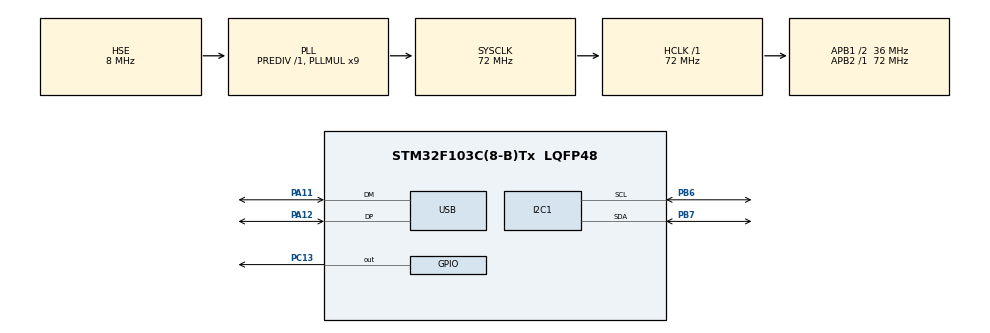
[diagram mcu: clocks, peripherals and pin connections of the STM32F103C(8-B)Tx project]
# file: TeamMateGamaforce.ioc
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Mcu.Family=STM32F1
Mcu.Name=STM32F103C(8-B)Tx
Mcu.Package=LQFP48
NVIC.PriorityGroup=NVIC_PRIORITYGROUP_4
NVIC.USB_LP_CAN1_RX0_IRQn=true\:0\:0\:false\:false\:true\:false\:true\:true
PA11.Mode=Device
PA11.Signal=USB_DM
PA12.Mode=Device
PA12.Signal=USB_DP
PA13.Mode=Serial_Wire
PA13.Signal=SYS_JTMS-SWDIO
PA14.Mode=Serial_Wire
PA14.Signal=SYS_JTCK-SWCLK
PB6.Mode=I2C
PB6.Signal=I2C1_SCL
PB7.Mode=I2C
PB7.Signal=I2C1_SDA
PC13-TAMPER-RTC.Signal=GPIO_Output
PD0-OSC_IN.Mode=HSE-External-Oscillator
PD0-OSC_IN.Signal=RCC_OSC_IN
PD1-OSC_OUT.Mode=HSE-External-Oscillator
PD1-OSC_OUT.Signal=RCC_OSC_OUT
ProjectManager.HeapSize=0x200
ProjectManager.StackSize=0x400
ProjectManager.TargetToolchain=STM32CubeIDE
RCC.AHBFreq_Value=72000000
RCC.APB1CLKDivider=RCC_HCLK_DIV2
RCC.APB1Freq_Value=36000000
RCC.APB1TimFreq_Value=72000000
RCC.APB2Freq_Value=72000000
RCC.APB2TimFreq_Value=72000000
RCC.HCLKFreq_Value=72000000
RCC.PLLMUL=RCC_PLL_MUL9
RCC.SYSCLKFreq_VALUE=72000000
RCC.SYSCLKSource=RCC_SYSCLKSOURCE_PLLCLK
RCC.USBFreq_Value=48000000
RCC.USBPrescaler=RCC_USBCLKSOURCE_PLL_DIV1_5
USB_DEVICE.CLASS_NAME_FS=CDC
USB_DEVICE.VirtualMode=Cdc
USB_DEVICE.VirtualModeFS=Cdc_FS
VP_USB_DEVICE_VS_USB_DEVICE_CDC_FS.Mode=CDC_FS
board=custom

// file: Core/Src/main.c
/* USER CODE BEGIN Header */
/**
  ******************************************************************************
  * @file           : main.c
  * @brief          : MPU6050 -> MAVLink v2 lewat USB CDC - Blue Pill STM32F103C8T6
  *                   HSE 8 MHz -> SYSCLK 72 MHz, USB 48 MHz
  *                   I2C1: PB6 = SCL, PB7 = SDA
  *
  * Pesan MAVLink yang dikirim (sysid=1, compid=1):
  *   HEARTBEAT   1 Hz
  *   SCALED_IMU  20 Hz  (acc [mG], gyro [mrad/s], suhu [cdegC])
  *   ATTITUDE    20 Hz  (roll/pitch [rad], yaw = 0)
  *   STATUSTEXT  saat start / error (diagnostik MPU6050)
  ******************************************************************************
  */
/* USER CODE END Header */
#include "main.h"
#include "usb_device.h"

/* USER CODE BEGIN Includes */
#include "mpu6050.h"
#include "usbd_cdc_if.h"
#include "../../c_library_v2/common/mavlink.h"
#include <stdio.h>
#include <stdint.h>
#include <string.h>
/* USER CODE END Includes */

I2C_HandleTypeDef hi2c1;

/* USER CODE BEGIN PV */
extern USBD_HandleTypeDef hUsbDeviceFS;

MPU6050_t mpu;

#define MAV_SYS_ID          1U
#define MAV_COMP_ID         MAV_COMP_ID_AUTOPILOT1
#define MAV_HEARTBEAT_MS    1000U
#define MAV_IMU_PERIOD_MS   50U         /* 20 Hz */

/* Buffer TX harus static/global karena USB CDC mengirim secara asynchronous. */
static uint8_t usb_tx_buffer[256];
/* USER CODE END PV */

void SystemClock_Config(void);
static void MX_GPIO_Init(void);
static void MX_I2C1_Init(void);
/* USER CODE BEGIN PFP */
static uint8_t  USB_TxReady(void);
static uint8_t  USB_WaitTxReady(uint32_t timeout_ms);
static void     USB_WaitConfigured(uint32_t timeout_ms);
static uint16_t MAV_Append(uint16_t used, const mavlink_message_t *msg);
static uint8_t  MAV_SendTelemetry(uint8_t with_heartbeat, uint8_t with_imu);
static void     MAV_StatusText(uint8_t severity, const char *text);
static void     I2C_BusRecover(void);
static void     I2C_Scan(void);
static void     MPU_PrintDiag(HAL_StatusTypeDef st);
/* USER CODE END PFP */

/* USER CODE BEGIN 0 */

#define DEG2RAD   0.01745329252f

/* ---------------- USB helper ---------------- */

/* Return 1 jika USB sudah CONFIGURED dan transmit sebelumnya selesai. */
static uint8_t USB_TxReady(void)
{
    USBD_CDC_HandleTypeDef *hcdc;

    if (hUsbDeviceFS.dev_state != USBD_STATE_CONFIGURED)
    {
        return 0U;
    }

    hcdc = (USBD_CDC_HandleTypeDef *)hUsbDeviceFS.pClassData;
    if (hcdc == NULL)
    {
        return 0U;
    }

    return (hcdc->TxState == 0U) ? 1U : 0U;
}

static uint8_t USB_WaitTxReady(uint32_t timeout_ms)
{
    uint32_t start = HAL_GetTick();

    while (!USB_TxReady())
    {
        if ((HAL_GetTick() - start) >= timeout_ms)
        {
            return 0U;
        }
    }
    return 1U;
}

static void USB_WaitConfigured(uint32_t timeout_ms)
{
    uint32_t start = HAL_GetTick();

    while (hUsbDeviceFS.dev_state != USBD_STATE_CONFIGURED)
    {
        if ((HAL_GetTick() - start) >= timeout_ms)
        {
            break;
        }
    }
}

/* ---------------- MAVLink ---------------- */
/* MAV BEGIN */

/* Float -> int16 dengan pembulatan. */
static int16_t MAV_ToI16(float v)
{
    return (int16_t)((v >= 0.0f) ? (v + 0.5f) : (v - 0.5f));
}

/* Serialisasi 'msg' ke usb_tx_buffer mulai dari offset 'used'.
   Return offset baru (tidak berubah jika buffer tidak cukup). */
static uint16_t MAV_Append(uint16_t used, const mavlink_message_t *msg)
{
    uint16_t need = (uint16_t)(MAVLINK_NUM_NON_PAYLOAD_BYTES + msg->len);

    if ((uint32_t)used + need > sizeof(usb_tx_buffer))
    {
        return used;
    }
    return (uint16_t)(used + mavlink_msg_to_send_buffer(&usb_tx_buffer[used], msg));
}

/* Kirim HEARTBEAT dan/atau SCALED_IMU + ATTITUDE dalam satu transfer USB.
   Return 1 jika terkirim, 0 jika USB belum siap (coba lagi nanti). */
static uint8_t MAV_SendTelemetry(uint8_t with_heartbeat, uint8_t with_imu)
{
    mavlink_message_t msg;
    uint16_t len = 0U;
    uint32_t now_ms;

    if (!USB_TxReady())
    {
        return 0U;
    }

    now_ms = HAL_GetTick();

    if (with_heartbeat)
    {
        mavlink_msg_heartbeat_pack(MAV_SYS_ID, MAV_COMP_ID, &msg,
                                   MAV_TYPE_GENERIC, MAV_AUTOPILOT_GENERIC,
                                   0U, 0U, MAV_STATE_ACTIVE);
        len = MAV_Append(len, &msg);
    }

    if (with_imu)
    {
        /* g -> mG, dps -> mrad/s, degC -> cdegC. Magnetometer tidak ada -> 0. */
        mavlink_msg_scaled_imu_pack(MAV_SYS_ID, MAV_COMP_ID, &msg, now_ms,
                                    MAV_ToI16(mpu.ax * 1000.0f),
                                    MAV_ToI16(mpu.ay * 1000.0f),
                                    MAV_ToI16(mpu.az * 1000.0f),
                                    MAV_ToI16(mpu.gx * DEG2RAD * 1000.0f),
                                    MAV_ToI16(mpu.gy * DEG2RAD * 1000.0f),
                                    MAV_ToI16(mpu.gz * DEG2RAD * 1000.0f),
                                    0, 0, 0,
                                    MAV_ToI16(mpu.temp * 100.0f));
        len = MAV_Append(len, &msg);

        /* yaw tidak tersedia (tanpa magnetometer) -> 0 */
        mavlink_msg_attitude_pack(MAV_SYS_ID, MAV_COMP_ID, &msg, now_ms,
                                  mpu.roll  * DEG2RAD,
                                  mpu.pitch * DEG2RAD,
                                  0.0f,
                                  mpu.gx * DEG2RAD,
                                  mpu.gy * DEG2RAD,
                                  mpu.gz * DEG2RAD);
        len = MAV_Append(len, &msg);
    }

    if (len == 0U)
    {
        return 1U;
    }
    return (CDC_Transmit_FS(usb_tx_buffer, len) == USBD_OK) ? 1U : 0U;
}

/* Kirim pesan teks (maks 49 karakter) sebagai STATUSTEXT. */
static void MAV_StatusText(uint8_t severity, const char *text)
{
    mavlink_message_t msg;
    char buf[50];                   /* STATUSTEXT.text = tepat 50 byte */
    uint16_t len;

    memset(buf, 0, sizeof(buf));
    strncpy(buf, text, sizeof(buf) - 1U);

    if (!USB_WaitTxReady(200U))
    {
        return;                     /* USB belum siap / host belum membuka port */
    }

    mavlink_msg_statustext_pack(MAV_SYS_ID, MAV_COMP_ID, &msg, severity, buf, 0U, 0U);
    len = MAV_Append(0U, &msg);
    (void)CDC_Transmit_FS(usb_tx_buffer, len);
}

/* MAV END */

/* ---------------- Diagnostik I2C / MPU6050 ---------------- */

/* Lepas bus I2C yang nyangkut (slave menahan SDA LOW / flag BUSY):
   kirim 9 clock manual di SCL lalu STOP, kemudian init ulang I2C. */
static void I2C_BusRecover(void)
{
    GPIO_InitTypeDef g = {0};
    int i;

    (void)HAL_I2C_DeInit(&hi2c1);

    g.Pin   = GPIO_PIN_6 | GPIO_PIN_7;          /* PB6 = SCL, PB7 = SDA */
    g.Mode  = GPIO_MODE_OUTPUT_OD;
    g.Pull  = GPIO_NOPULL;
    g.Speed = GPIO_SPEED_FREQ_HIGH;
    HAL_GPIO_Init(GPIOB, &g);

    HAL_GPIO_WritePin(GPIOB, GPIO_PIN_6 | GPIO_PIN_7, GPIO_PIN_SET);
    HAL_Delay(1);

    for (i = 0; i < 9; i++)
    {
        HAL_GPIO_WritePin(GPIOB, GPIO_PIN_6, GPIO_PIN_RESET);
        HAL_Delay(1);
        HAL_GPIO_WritePin(GPIOB, GPIO_PIN_6, GPIO_PIN_SET);
        HAL_Delay(1);
    }

    /* Kondisi STOP: SDA naik saat SCL HIGH */
    HAL_GPIO_WritePin(GPIOB, GPIO_PIN_7, GPIO_PIN_RESET);
    HAL_Delay(1);
    HAL_GPIO_WritePin(GPIOB, GPIO_PIN_6, GPIO_PIN_SET);
    HAL_Delay(1);
    HAL_GPIO_WritePin(GPIOB, GPIO_PIN_7, GPIO_PIN_SET);
    HAL_Delay(1);

    HAL_GPIO_DeInit(GPIOB, GPIO_PIN_6 | GPIO_PIN_7);
    MX_I2C1_Init();                              /* pin kembali ke AF I2C */
}

/* Scan semua alamat 7-bit, kirim yang menjawab (ACK) sebagai STATUSTEXT. */
static void I2C_Scan(void)
{
    char line[50];
    size_t pos;
    uint8_t found = 0U;
    uint8_t addr;

    pos = (size_t)snprintf(line, sizeof(line), "I2C scan:");

    for (addr = 1U; addr < 127U; addr++)
    {
        if (HAL_I2C_IsDeviceReady(&hi2c1, (uint16_t)(addr << 1), 1U, 5U) == HAL_OK)
        {
            if (pos + 6U < sizeof(line))
            {
                pos += (size_t)snprintf(line + pos, sizeof(line) - pos, " 0x%02X", addr);
            }
            found++;
        }
    }

    if (found == 0U)
    {
        snprintf(line + pos, sizeof(line) - pos, " tidak ada device");
    }
    MAV_StatusText(MAV_SEVERITY_WARNING, line);
}

/* Kirim langkah init yang gagal + petunjuk sebagai STATUSTEXT. */
static void MPU_PrintDiag(HAL_StatusTypeDef st)
{
    static const char *const step_name[] = {
        "-", "PROBE", "WHOAMI_RD", "WHOAMI_VAL",
        "RESET", "WAKE", "DLPF", "SMPLRT", "GYRO_CFG", "ACCEL_CFG"
    };
    static const char *const st_name[] = { "OK", "ERROR", "BUSY", "TIMEOUT" };

    char msg[50];
    uint32_t err = HAL_I2C_GetError(&hi2c1);
    uint8_t step = mpu.init_step;

    if (step >= (sizeof(step_name) / sizeof(step_name[0]))) step = 0U;

    snprintf(msg, sizeof(msg), "MPU ERR %s hal=%s i2c=0x%02lX id=0x%02X",
             step_name[step],
             ((unsigned)st < 4U) ? st_name[st] : "?",
             (unsigned long)err,
             (unsigned)mpu.who_am_i);
    MAV_StatusText(MAV_SEVERITY_ERROR, msg);

    if (st == HAL_BUSY)
    {
        MAV_StatusText(MAV_SEVERITY_ERROR, "Bus BUSY: SDA/SCL LOW (short/tanpa pull-up)");
    }
    else if (err & HAL_I2C_ERROR_AF)
    {
        MAV_StatusText(MAV_SEVERITY_ERROR, "NACK: cek VCC/GND, SDA=PB7, SCL=PB6, AD0");
    }
    else if (err & HAL_I2C_ERROR_BERR)
    {
        MAV_StatusText(MAV_SEVERITY_ERROR, "Bus error: kabel longgar / SDA-SCL tertukar");
    }
    else if (err & HAL_I2C_ERROR_ARLO)
    {
        MAV_StatusText(MAV_SEVERITY_ERROR, "Arbitration lost: noise / short di bus");
    }
    else
    {
        MAV_StatusText(MAV_SEVERITY_ERROR, "Timeout: cek pull-up 4.7k & tegangan 3.3V");
    }
}

/* USER CODE END 0 */

int main(void)
{
  /* USER CODE BEGIN 1 */
  uint32_t last_hb  = 0U;
  uint32_t last_imu = 0U;
  uint8_t  hb_due   = 1U;     /* kirim heartbeat pertama segera */
  /* USER CODE END 1 */

  HAL_Init();

  SystemClock_Config();

  MX_GPIO_Init();

  /* USER CODE BEGIN SysInit */
  /* Paksa host mendeteksi ulang USB setiap reset/flash:
     tarik PA12 (USB D+) ke LOW sebentar sebelum USB diinisialisasi. */
  {
      GPIO_InitTypeDef g = {0};
      g.Pin   = GPIO_PIN_12;
      g.Mode  = GPIO_MODE_OUTPUT_PP;
      g.Speed = GPIO_SPEED_FREQ_LOW;
      HAL_GPIO_Init(GPIOA, &g);
      HAL_GPIO_WritePin(GPIOA, GPIO_PIN_12, GPIO_PIN_RESET);
      HAL_Delay(50);
  }
  /* USER CODE END SysInit */

  MX_I2C1_Init();
  MX_USB_DEVICE_Init();

  /* USER CODE BEGIN 2 */
  USB_WaitConfigured(5000U);
  HAL_Delay(500);             /* beri waktu aplikasi di PC membuka port */

  /* Pastikan bus I2C bersih sebelum mulai */
  I2C_BusRecover();

  /* Inisialisasi sensor; ulangi sampai berhasil, laporkan error via STATUSTEXT */
  {
      HAL_StatusTypeDef init_st;
      char info[50];

      while ((init_st = MPU6050_Init(&hi2c1, &mpu)) != HAL_OK)
      {
          (void)MAV_SendTelemetry(1U, 0U);    /* tetap kirim heartbeat */
          MPU_PrintDiag(init_st);
          I2C_Scan();

          if (init_st == HAL_BUSY)
          {
              I2C_BusRecover();
          }
          HAL_Delay(1000);
      }

      snprintf(info, sizeof(info), "MPU OK, WHO_AM_I=0x%02X%s",
               (unsigned)mpu.who_am_i,
               (mpu.who_am_i == 0x68) ? "" : " (clone)");
      MAV_StatusText(MAV_SEVERITY_INFO, info);
  }

  MAV_StatusText(MAV_SEVERITY_NOTICE, "Kalibrasi gyro: jangan gerakkan sensor");
  (void)MPU6050_Calibrate_Gyro(&hi2c1, &mpu, 400);
  MAV_StatusText(MAV_SEVERITY_INFO, "Kalibrasi selesai");

  last_hb  = HAL_GetTick();
  last_imu = last_hb;
  /* USER CODE END 2 */

  while (1)
  {
    /* USER CODE BEGIN 3 */
    uint32_t now = HAL_GetTick();

    if (MPU6050_Read_All(&hi2c1, &mpu) == HAL_OK)
    {
        MPU6050_Update_Angle(&mpu);
    }

    if ((now - last_hb) >= MAV_HEARTBEAT_MS)
    {
        hb_due = 1U;
    }

    if (hb_due || ((now - last_imu) >= MAV_IMU_PERIOD_MS))
    {
        uint8_t imu_due = ((now - last_imu) >= MAV_IMU_PERIOD_MS) ? 1U : 0U;

        if (MAV_SendTelemetry(hb_due, imu_due))
        {
            if (hb_due)  { last_hb  = now; hb_due = 0U; }
            if (imu_due) { last_imu = now; }
        }
    }

    HAL_Delay(5);             /* ~200 Hz baca sensor */
    /* USER CODE END 3 */
  }
}

void SystemClock_Config(void)
{
  RCC_OscInitTypeDef RCC_OscInitStruct = {0};
  RCC_ClkInitTypeDef RCC_ClkInitStruct = {0};
  RCC_PeriphCLKInitTypeDef PeriphClkInit = {0};

  RCC_OscInitStruct.OscillatorType = RCC_OSCILLATORTYPE_HSE;
  RCC_OscInitStruct.HSEState = RCC_HSE_ON;
  RCC_OscInitStruct.HSEPredivValue = RCC_HSE_PREDIV_DIV1;
  RCC_OscInitStruct.HSIState = RCC_HSI_ON;
  RCC_OscInitStruct.PLL.PLLState = RCC_PLL_ON;
  RCC_OscInitStruct.PLL.PLLSource = RCC_PLLSOURCE_HSE;
  RCC_OscInitStruct.PLL.PLLMUL = RCC_PLL_MUL9;
  if (HAL_RCC_OscConfig(&RCC_OscInitStruct) != HAL_OK)
  {
    Error_Handler();
  }

  RCC_ClkInitStruct.ClockType = RCC_CLOCKTYPE_HCLK|RCC_CLOCKTYPE_SYSCLK
                              |RCC_CLOCKTYPE_PCLK1|RCC_CLOCKTYPE_PCLK2;
  RCC_ClkInitStruct.SYSCLKSource = RCC_SYSCLKSOURCE_PLLCLK;
  RCC_ClkInitStruct.AHBCLKDivider = RCC_SYSCLK_DIV1;
  RCC_ClkInitStruct.APB1CLKDivider = RCC_HCLK_DIV2;   /* PCLK1 = 36 MHz (maks) */
  RCC_ClkInitStruct.APB2CLKDivider = RCC_HCLK_DIV1;

  if (HAL_RCC_ClockConfig(&RCC_ClkInitStruct, FLASH_LATENCY_2) != HAL_OK)
  {
    Error_Handler();
  }

  PeriphClkInit.PeriphClockSelection = RCC_PERIPHCLK_USB;
  PeriphClkInit.UsbClockSelection = RCC_USBCLKSOURCE_PLL_DIV1_5;
  if (HAL_RCCEx_PeriphCLKConfig(&PeriphClkInit) != HAL_OK)
  {
    Error_Handler();
  }
}

/**
  * @brief I2C1 Initialization (pin PB6/PB7 diatur di HAL_I2C_MspInit
  *        pada stm32f1xx_hal_msp.c, dibuat otomatis oleh CubeMX)
  */
static void MX_I2C1_Init(void)
{
  hi2c1.Instance = I2C1;
  hi2c1.Init.ClockSpeed = 100000;
  hi2c1.Init.DutyCycle = I2C_DUTYCYCLE_2;
  hi2c1.Init.OwnAddress1 = 0;
  hi2c1.Init.AddressingMode = I2C_ADDRESSINGMODE_7BIT;
  hi2c1.Init.DualAddressMode = I2C_DUALADDRESS_DISABLE;
  hi2c1.Init.OwnAddress2 = 0;
  hi2c1.Init.GeneralCallMode = I2C_GENERALCALL_DISABLE;
  hi2c1.Init.NoStretchMode = I2C_NOSTRETCH_DISABLE;
  if (HAL_I2C_Init(&hi2c1) != HAL_OK)
  {
    Error_Handler();
  }
}

static void MX_GPIO_Init(void)
{
  __HAL_RCC_GPIOD_CLK_ENABLE();   /* pin HSE (PD0/PD1) */
  __HAL_RCC_GPIOA_CLK_ENABLE();
  __HAL_RCC_GPIOB_CLK_ENABLE();
}

void Error_Handler(void)
{
  __disable_irq();
  while (1)
  {
  }
}
